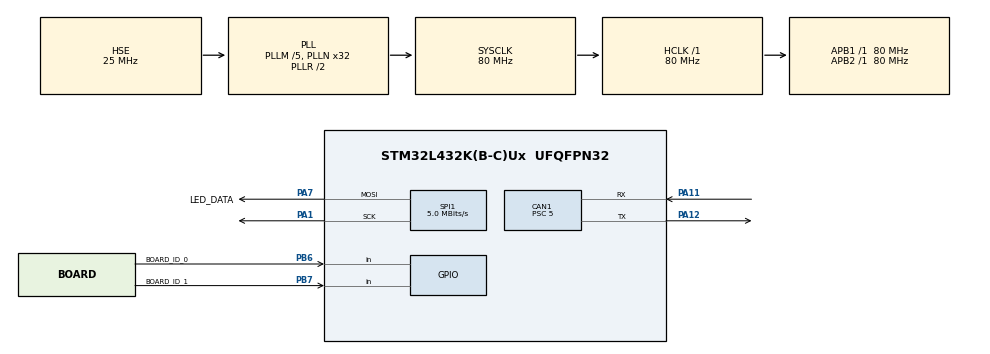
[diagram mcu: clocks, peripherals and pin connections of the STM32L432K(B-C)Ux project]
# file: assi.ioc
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CAN1.ABOM=ENABLE
CAN1.BS1=CAN_BS1_13TQ
CAN1.BS2=CAN_BS2_2TQ
CAN1.CalculateBaudRate=1000000
CAN1.CalculateTimeBit=1000
CAN1.CalculateTimeQuantum=62.5
CAN1.Mode=CAN_MODE_NORMAL
CAN1.NART=ENABLE
CAN1.Prescaler=5
CAN1.SJW=CAN_SJW_2TQ
CAN1.TXFP=DISABLE
Dma.Request0=SPI1_TX
Dma.SPI1_TX.0.Direction=DMA_MEMORY_TO_PERIPH
Dma.SPI1_TX.0.Instance=DMA1_Channel3
Dma.SPI1_TX.0.MemDataAlignment=DMA_MDATAALIGN_BYTE
Dma.SPI1_TX.0.MemInc=DMA_MINC_ENABLE
Dma.SPI1_TX.0.Mode=DMA_NORMAL
Dma.SPI1_TX.0.PeriphDataAlignment=DMA_PDATAALIGN_BYTE
Dma.SPI1_TX.0.PeriphInc=DMA_PINC_DISABLE
Dma.SPI1_TX.0.Priority=DMA_PRIORITY_VERY_HIGH
IWDG.Reload=2000-1
IWDG.Window=4096-1
Mcu.Family=STM32L4
Mcu.Name=STM32L432K(B-C)Ux
Mcu.Package=UFQFPN32
NVIC.CAN1_RX0_IRQn=true\:0\:0\:false\:false\:true\:true\:true\:true
NVIC.CAN1_RX1_IRQn=true\:0\:0\:false\:false\:true\:true\:true\:true
NVIC.CAN1_SCE_IRQn=true\:0\:0\:false\:false\:true\:true\:true\:true
NVIC.CAN1_TX_IRQn=true\:0\:0\:false\:false\:true\:true\:true\:true
NVIC.DMA1_Channel3_IRQn=true\:0\:0\:false\:false\:true\:false\:true\:true
NVIC.PriorityGroup=NVIC_PRIORITYGROUP_4
NVIC.SPI1_IRQn=true\:0\:0\:false\:false\:true\:true\:true\:true
NVIC.TIM1_UP_TIM16_IRQn=true\:0\:0\:false\:false\:true\:true\:true\:true
NVIC.TIM6_DAC_IRQn=true\:0\:0\:false\:false\:true\:true\:true\:true
NVIC.TIM7_IRQn=true\:0\:0\:false\:false\:true\:true\:true\:true
PA0.Mode=HSE-External-Clock-Source-for-LittleOrca
PA0.Signal=RCC_CK_IN
PA1.Mode=TX_Only_Simplex_Unidirect_Master
PA1.Signal=SPI1_SCK
PA11.Mode=CAN_Activate
PA11.Signal=CAN1_RX
PA12.Mode=CAN_Activate
PA12.Signal=CAN1_TX
PA13\ (JTMS-SWDIO).Mode=Serial_Wire
PA13\ (JTMS-SWDIO).Signal=SYS_JTMS-SWDIO
PA14\ (JTCK-SWCLK).Mode=Serial_Wire
PA14\ (JTCK-SWCLK).Signal=SYS_JTCK-SWCLK
PA7.GPIO_Label=LED_DATA
PA7.Mode=TX_Only_Simplex_Unidirect_Master
PA7.Signal=SPI1_MOSI
PB6.GPIO_Label=BOARD_ID_0
PB6.Signal=GPIO_Input
PB7.GPIO_Label=BOARD_ID_1
PB7.Signal=GPIO_Input
ProjectManager.HeapSize=0x200
ProjectManager.StackSize=0x400
ProjectManager.TargetToolchain=Makefile
RCC.ADCFreq_Value=32500000
RCC.AHBFreq_Value=80000000
RCC.APB1Freq_Value=80000000
RCC.APB1TimFreq_Value=80000000
RCC.APB2Freq_Value=80000000
RCC.APB2TimFreq_Value=80000000
RCC.CortexFreq_Value=80000000
RCC.HCLKFreq_Value=80000000
RCC.HSE_VALUE=25000000
RCC.HSI48_VALUE=48000000
RCC.HSI_VALUE=16000000
RCC.LSE_VALUE=32768
RCC.MSI_VALUE=4000000
RCC.PLLM=5
RCC.PLLN=32
RCC.PLLSAI1N=13
RCC.PLLSourceVirtual=RCC_PLLSOURCE_HSE
RCC.SYSCLKFreq_VALUE=80000000
RCC.SYSCLKSource=RCC_SYSCLKSOURCE_PLLCLK
RCC.USBFreq_Value=32500000
RCC.VCOOutputFreq_Value=160000000
SPI1.BaudRatePrescaler=SPI_BAUDRATEPRESCALER_16
SPI1.CLKPolarity=SPI_POLARITY_LOW
SPI1.CalculateBaudRate=5.0 MBits/s
SPI1.DataSize=SPI_DATASIZE_8BIT
SPI1.Direction=SPI_DIRECTION_2LINES
SPI1.Mode=SPI_MODE_MASTER
SPI1.NSSPMode=SPI_NSS_PULSE_DISABLE
SPI1.VirtualType=VM_MASTER
TIM16.Period=3000-1
TIM16.Prescaler=8000-1
TIM6.Period=2500-1
TIM6.Prescaler=8000-1
TIM7.Period=10000-1
TIM7.Prescaler=8000-1
VP_IWDG_VS_IWDG.Mode=IWDG_Activate
VP_TIM16_VS_ClockSourceINT.Mode=Enable_Timer
VP_TIM6_VS_ClockSourceINT.Mode=Enable_Timer
VP_TIM7_VS_ClockSourceINT.Mode=Enable_Timer
board=custom

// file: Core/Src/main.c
/* USER CODE BEGIN Header */
/**
 ******************************************************************************
 * @file           : main.c
 * @brief          : Main program body
 ******************************************************************************
 * @attention
 *
 * Copyright (c) 2023 STMicroelectronics.
 * All rights reserved.
 *
 * This software is licensed under terms that can be found in the LICENSE file
 * in the root directory of this software component.
 * If no LICENSE file comes with this software, it is provided AS-IS.
 *
 ******************************************************************************
 */
/* USER CODE END Header */
#include "main.h"
#include "can.h"
#include "dma.h"
#include "gpio.h"
#include "iwdg.h"
#include "spi.h"
#include "tim.h"

/* USER CODE BEGIN Includes */
#include "assi.h"
#include "can_comms.h"
#include "utils.h"
#include "visEffect.h"

/* USER CODE END Includes */

void SystemClock_Config(void);

/* USER CODE BEGIN 0 */
void HAL_TIM_PeriodElapsedCallback(TIM_HandleTypeDef *htim)
{
    static bool first = true;

    if (htim == &TIM_SYNC) // assi sync
    {
        static uint8_t alt = 0;
        if (utils_get_board_id() == BOARD_MASTER)
        {
            can_msg_send(&hcan1, CAN_ASSI_SYNC_ID, &alt, 1);
        }
        assi_sync(alt);
        alt = alt ? 0 : 1;
    }
    else if (htim == &TIM_DSPACE_TIMEOUT)
    {
        if (!first)
            assi_set_state(AS_EMERGENCY); // comms with dspace lost
        first = false;
    }
    else if (htim == &TIM_SYNC_TIMEOUT)
    {
        HAL_TIM_Base_Start_IT(&TIM_SYNC); // start internal sync if external fails
    }
}

/* USER CODE END 0 */

int main(void)
{

    /* MCU Configuration--------------------------------------------------------*/

    /* Reset of all peripherals, Initializes the Flash interface and the Systick. */
    HAL_Init();

    /* Configure the system clock */
    SystemClock_Config();

    /* Initialize all configured peripherals */
    MX_GPIO_Init();
    MX_DMA_Init();
    MX_SPI1_Init();
    MX_CAN1_Init();
    MX_TIM6_Init();
    MX_IWDG_Init();
    MX_TIM7_Init();
    MX_TIM16_Init();
    /* USER CODE BEGIN 2 */
    HAL_CAN_Start(&hcan1);

    if (utils_get_board_id() == BOARD_MASTER)
    {
        HAL_TIM_Base_Start_IT(&TIM_SYNC);
    }

    HAL_TIM_Base_Start_IT(&TIM_SYNC_TIMEOUT);

    assi_init();

    /* USER CODE END 2 */

    /* Infinite loop */
    /* USER CODE BEGIN WHILE */
    while (1)
    {
        HAL_IWDG_Refresh(&hiwdg);

        if (assi_get_state() == AS_TEST)
        {
            visHandle();
        }
        /* USER CODE END WHILE */

    }
}

void SystemClock_Config(void)
{
    RCC_OscInitTypeDef RCC_OscInitStruct = {0};
    RCC_ClkInitTypeDef RCC_ClkInitStruct = {0};

    /** Configure the main internal regulator output voltage
     */
    if (HAL_PWREx_ControlVoltageScaling(PWR_REGULATOR_VOLTAGE_SCALE1) != HAL_OK)
    {
        Error_Handler();
    }

    /** Initializes the RCC Oscillators according to the specified parameters
     * in the RCC_OscInitTypeDef structure.
     */
    RCC_OscInitStruct.OscillatorType = RCC_OSCILLATORTYPE_LSI | RCC_OSCILLATORTYPE_HSE;
    RCC_OscInitStruct.HSEState = RCC_HSE_BYPASS;
    RCC_OscInitStruct.LSIState = RCC_LSI_ON;
    RCC_OscInitStruct.PLL.PLLState = RCC_PLL_ON;
    RCC_OscInitStruct.PLL.PLLSource = RCC_PLLSOURCE_HSE;
    RCC_OscInitStruct.PLL.PLLM = 5;
    RCC_OscInitStruct.PLL.PLLN = 32;
    RCC_OscInitStruct.PLL.PLLP = RCC_PLLP_DIV7;
    RCC_OscInitStruct.PLL.PLLQ = RCC_PLLQ_DIV2;
    RCC_OscInitStruct.PLL.PLLR = RCC_PLLR_DIV2;
    if (HAL_RCC_OscConfig(&RCC_OscInitStruct) != HAL_OK)
    {
        Error_Handler();
    }

    /** Initializes the CPU, AHB and APB buses clocks
     */
    RCC_ClkInitStruct.ClockType = RCC_CLOCKTYPE_HCLK | RCC_CLOCKTYPE_SYSCLK | RCC_CLOCKTYPE_PCLK1 | RCC_CLOCKTYPE_PCLK2;
    RCC_ClkInitStruct.SYSCLKSource = RCC_SYSCLKSOURCE_PLLCLK;
    RCC_ClkInitStruct.AHBCLKDivider = RCC_SYSCLK_DIV1;
    RCC_ClkInitStruct.APB1CLKDivider = RCC_HCLK_DIV1;
    RCC_ClkInitStruct.APB2CLKDivider = RCC_HCLK_DIV1;

    if (HAL_RCC_ClockConfig(&RCC_ClkInitStruct, FLASH_LATENCY_4) != HAL_OK)
    {
        Error_Handler();
    }
}

void Error_Handler(void)
{
    __disable_irq();
    while (1)
    {
    }
}
